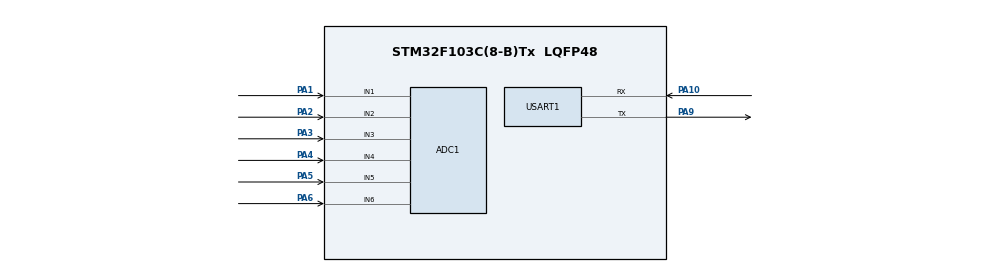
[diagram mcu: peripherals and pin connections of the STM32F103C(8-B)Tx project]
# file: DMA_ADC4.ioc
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ADC1.Channel-10\#ChannelRegularConversion=ADC_CHANNEL_4
ADC1.Channel-11\#ChannelRegularConversion=ADC_CHANNEL_5
ADC1.Channel-12\#ChannelRegularConversion=ADC_CHANNEL_6
ADC1.Channel-7\#ChannelRegularConversion=ADC_CHANNEL_1
ADC1.Channel-8\#ChannelRegularConversion=ADC_CHANNEL_2
ADC1.Channel-9\#ChannelRegularConversion=ADC_CHANNEL_3
ADC1.ContinuousConvMode=ENABLE
ADC1.NbrOfConversion=6
ADC1.NbrOfConversionFlag=1
ADC1.Rank-10\#ChannelRegularConversion=4
ADC1.Rank-11\#ChannelRegularConversion=5
ADC1.Rank-12\#ChannelRegularConversion=6
ADC1.Rank-7\#ChannelRegularConversion=1
ADC1.Rank-8\#ChannelRegularConversion=2
ADC1.Rank-9\#ChannelRegularConversion=3
ADC1.SamplingTime-10\#ChannelRegularConversion=ADC_SAMPLETIME_239CYCLES_5
ADC1.SamplingTime-11\#ChannelRegularConversion=ADC_SAMPLETIME_239CYCLES_5
ADC1.SamplingTime-12\#ChannelRegularConversion=ADC_SAMPLETIME_239CYCLES_5
ADC1.SamplingTime-7\#ChannelRegularConversion=ADC_SAMPLETIME_239CYCLES_5
ADC1.SamplingTime-8\#ChannelRegularConversion=ADC_SAMPLETIME_239CYCLES_5
ADC1.SamplingTime-9\#ChannelRegularConversion=ADC_SAMPLETIME_239CYCLES_5
ADC1.master=1
Dma.ADC1.0.Direction=DMA_PERIPH_TO_MEMORY
Dma.ADC1.0.Instance=DMA1_Channel1
Dma.ADC1.0.MemDataAlignment=DMA_MDATAALIGN_HALFWORD
Dma.ADC1.0.MemInc=DMA_MINC_ENABLE
Dma.ADC1.0.Mode=DMA_CIRCULAR
Dma.ADC1.0.PeriphDataAlignment=DMA_PDATAALIGN_HALFWORD
Dma.ADC1.0.PeriphInc=DMA_PINC_DISABLE
Dma.ADC1.0.Priority=DMA_PRIORITY_LOW
Dma.Request0=ADC1
Mcu.Family=STM32F1
Mcu.Name=STM32F103C(8-B)Tx
Mcu.Package=LQFP48
NVIC.DMA1_Channel1_IRQn=true\:0\:0\:false\:false\:true\:false\:true
NVIC.PriorityGroup=NVIC_PRIORITYGROUP_4
PA1.Signal=ADCx_IN1
PA10.Mode=Asynchronous
PA10.Signal=USART1_RX
PA13.Mode=Serial_Wire
PA13.Signal=SYS_JTMS-SWDIO
PA14.Mode=Serial_Wire
PA14.Signal=SYS_JTCK-SWCLK
PA2.Signal=ADCx_IN2
PA3.Signal=ADCx_IN3
PA4.Signal=ADCx_IN4
PA5.Signal=ADCx_IN5
PA6.Signal=ADCx_IN6
PA9.Mode=Asynchronous
PA9.Signal=USART1_TX
ProjectManager.HeapSize=0x200
ProjectManager.StackSize=0x400
ProjectManager.TargetToolchain=STM32CubeIDE
RCC.APB1Freq_Value=8000000
RCC.APB2Freq_Value=8000000
SH.ADCx_IN1.0=ADC1_IN1,IN1
SH.ADCx_IN2.0=ADC1_IN2,IN2
SH.ADCx_IN3.0=ADC1_IN3,IN3
SH.ADCx_IN4.0=ADC1_IN4,IN4
SH.ADCx_IN5.0=ADC1_IN5,IN5
SH.ADCx_IN6.0=ADC1_IN6,IN6
USART1.VirtualMode=VM_ASYNC
board=custom

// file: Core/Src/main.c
/* USER CODE BEGIN Header */
/**
  ******************************************************************************
  * @file           : main.c
  * @brief          : Main program body
  ******************************************************************************
  * @attention
  *
  * <h2><center>&copy; Copyright (c) 2020 STMicroelectronics.
  * All rights reserved.</center></h2>
  *
  * This software component is licensed by ST under BSD 3-Clause license,
  * the "License"; You may not use this file except in compliance with the
  * License. You may obtain a copy of the License at:
  *                        opensource.org/licenses/BSD-3-Clause
  *
  ******************************************************************************
  */
/* USER CODE END Header */

#include "main.h"

ADC_HandleTypeDef hadc1;
DMA_HandleTypeDef hdma_adc1;

UART_HandleTypeDef huart1;

/* USER CODE BEGIN PV */

uint16_t adcSamples[6];
//colocar en el array mas de lo necesario en este caso usa 11 caracteres y coloque 15
char buffer1[15],buffer2[15],buffer3[15],buffer4[15],buffer5[15],buffer6[15];
uint8_t stringSize1,stringSize2,stringSize3,stringSize4,stringSize5,stringSize6;

/* USER CODE END PV */

void SystemClock_Config(void);
static void MX_GPIO_Init(void);
static void MX_DMA_Init(void);
static void MX_ADC1_Init(void);
static void MX_USART1_UART_Init(void);

int main(void)
{

  /* MCU Configuration--------------------------------------------------------*/

  /* Reset of all peripherals, Initializes the Flash interface and the Systick. */
  HAL_Init();

  /* Configure the system clock */
  SystemClock_Config();

  /* Initialize all configured peripherals */
  MX_GPIO_Init();
  MX_DMA_Init();
  MX_ADC1_Init();
  MX_USART1_UART_Init();
  /* USER CODE BEGIN 2 */

  HAL_ADC_Start_DMA(&hadc1, (uint32_t *) adcSamples, 6);

  /* USER CODE END 2 */

  /* Infinite loop */
  /* USER CODE BEGIN WHILE */
  while (1)
  {

	  stringSize1 = sprintf(buffer1,"ADC1: %u ",adcSamples[0]);
	  stringSize2 = sprintf(buffer2,"ADC2: %u ",adcSamples[1]);
	  stringSize3 = sprintf(buffer3,"ADC3: %u ",adcSamples[2]);
	  stringSize4 = sprintf(buffer4,"ADC4: %u ",adcSamples[3]);
	  stringSize5 = sprintf(buffer5,"ADC5: %u ",adcSamples[4]);
	  stringSize6 = sprintf(buffer6,"ADC6: %u\r\n",adcSamples[5]);
	  HAL_UART_Transmit(&huart1, buffer1, stringSize1, 100);
	  HAL_UART_Transmit(&huart1, buffer2, stringSize2, 100);
	  HAL_UART_Transmit(&huart1, buffer3, stringSize3, 100);
	  HAL_UART_Transmit(&huart1, buffer4, stringSize4, 100);
	  HAL_UART_Transmit(&huart1, buffer5, stringSize5, 100);
	  HAL_UART_Transmit(&huart1, buffer6, stringSize6, 100);
	  HAL_Delay(50);
    /* USER CODE END WHILE */

  }
}

void SystemClock_Config(void)
{
  RCC_OscInitTypeDef RCC_OscInitStruct = {0};
  RCC_ClkInitTypeDef RCC_ClkInitStruct = {0};
  RCC_PeriphCLKInitTypeDef PeriphClkInit = {0};

  /** Initializes the CPU, AHB and APB busses clocks
  */
  RCC_OscInitStruct.OscillatorType = RCC_OSCILLATORTYPE_HSI;
  RCC_OscInitStruct.HSIState = RCC_HSI_ON;
  RCC_OscInitStruct.HSICalibrationValue = RCC_HSICALIBRATION_DEFAULT;
  RCC_OscInitStruct.PLL.PLLState = RCC_PLL_NONE;
  if (HAL_RCC_OscConfig(&RCC_OscInitStruct) != HAL_OK)
  {
    Error_Handler();
  }
  /** Initializes the CPU, AHB and APB busses clocks
  */
  RCC_ClkInitStruct.ClockType = RCC_CLOCKTYPE_HCLK|RCC_CLOCKTYPE_SYSCLK
                              |RCC_CLOCKTYPE_PCLK1|RCC_CLOCKTYPE_PCLK2;
  RCC_ClkInitStruct.SYSCLKSource = RCC_SYSCLKSOURCE_HSI;
  RCC_ClkInitStruct.AHBCLKDivider = RCC_SYSCLK_DIV1;
  RCC_ClkInitStruct.APB1CLKDivider = RCC_HCLK_DIV1;
  RCC_ClkInitStruct.APB2CLKDivider = RCC_HCLK_DIV1;

  if (HAL_RCC_ClockConfig(&RCC_ClkInitStruct, FLASH_LATENCY_0) != HAL_OK)
  {
    Error_Handler();
  }
  PeriphClkInit.PeriphClockSelection = RCC_PERIPHCLK_ADC;
  PeriphClkInit.AdcClockSelection = RCC_ADCPCLK2_DIV2;
  if (HAL_RCCEx_PeriphCLKConfig(&PeriphClkInit) != HAL_OK)
  {
    Error_Handler();
  }
}

static void MX_ADC1_Init(void)
{

  ADC_ChannelConfTypeDef sConfig = {0};

  /** Common config
  */
  hadc1.Instance = ADC1;
  hadc1.Init.ScanConvMode = ADC_SCAN_ENABLE;
  hadc1.Init.ContinuousConvMode = ENABLE;
  hadc1.Init.DiscontinuousConvMode = DISABLE;
  hadc1.Init.ExternalTrigConv = ADC_SOFTWARE_START;
  hadc1.Init.DataAlign = ADC_DATAALIGN_RIGHT;
  hadc1.Init.NbrOfConversion = 6;
  if (HAL_ADC_Init(&hadc1) != HAL_OK)
  {
    Error_Handler();
  }
  /** Configure Regular Channel
  */
  sConfig.Channel = ADC_CHANNEL_1;
  sConfig.Rank = ADC_REGULAR_RANK_1;
  sConfig.SamplingTime = ADC_SAMPLETIME_239CYCLES_5;
  if (HAL_ADC_ConfigChannel(&hadc1, &sConfig) != HAL_OK)
  {
    Error_Handler();
  }
  /** Configure Regular Channel
  */
  sConfig.Channel = ADC_CHANNEL_2;
  sConfig.Rank = ADC_REGULAR_RANK_2;
  if (HAL_ADC_ConfigChannel(&hadc1, &sConfig) != HAL_OK)
  {
    Error_Handler();
  }
  /** Configure Regular Channel
  */
  sConfig.Channel = ADC_CHANNEL_3;
  sConfig.Rank = ADC_REGULAR_RANK_3;
  if (HAL_ADC_ConfigChannel(&hadc1, &sConfig) != HAL_OK)
  {
    Error_Handler();
  }
  /** Configure Regular Channel
  */
  sConfig.Channel = ADC_CHANNEL_4;
  sConfig.Rank = ADC_REGULAR_RANK_4;
  if (HAL_ADC_ConfigChannel(&hadc1, &sConfig) != HAL_OK)
  {
    Error_Handler();
  }
  /** Configure Regular Channel
  */
  sConfig.Channel = ADC_CHANNEL_5;
  sConfig.Rank = ADC_REGULAR_RANK_5;
  if (HAL_ADC_ConfigChannel(&hadc1, &sConfig) != HAL_OK)
  {
    Error_Handler();
  }
  /** Configure Regular Channel
  */
  sConfig.Channel = ADC_CHANNEL_6;
  sConfig.Rank = ADC_REGULAR_RANK_6;
  if (HAL_ADC_ConfigChannel(&hadc1, &sConfig) != HAL_OK)
  {
    Error_Handler();
  }

}

static void MX_USART1_UART_Init(void)
{

  huart1.Instance = USART1;
  huart1.Init.BaudRate = 115200;
  huart1.Init.WordLength = UART_WORDLENGTH_8B;
  huart1.Init.StopBits = UART_STOPBITS_1;
  huart1.Init.Parity = UART_PARITY_NONE;
  huart1.Init.Mode = UART_MODE_TX_RX;
  huart1.Init.HwFlowCtl = UART_HWCONTROL_NONE;
  huart1.Init.OverSampling = UART_OVERSAMPLING_16;
  if (HAL_UART_Init(&huart1) != HAL_OK)
  {
    Error_Handler();
  }

}

static void MX_DMA_Init(void)
{

  /* DMA controller clock enable */
  __HAL_RCC_DMA1_CLK_ENABLE();

  /* DMA interrupt init */
  /* DMA1_Channel1_IRQn interrupt configuration */
  HAL_NVIC_SetPriority(DMA1_Channel1_IRQn, 0, 0);
  HAL_NVIC_EnableIRQ(DMA1_Channel1_IRQn);

}

static void MX_GPIO_Init(void)
{

  /* GPIO Ports Clock Enable */
  __HAL_RCC_GPIOA_CLK_ENABLE();

}

void Error_Handler(void)
{
}

/************************ (C) COPYRIGHT STMicroelectronics *****END OF FILE****/
